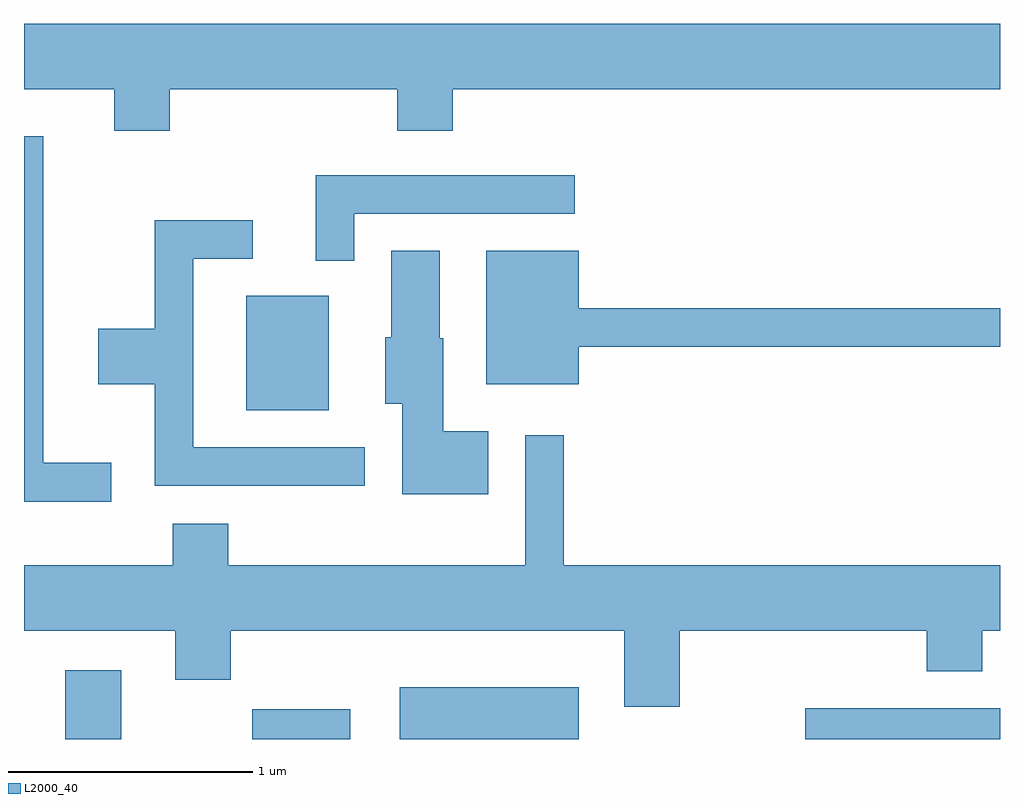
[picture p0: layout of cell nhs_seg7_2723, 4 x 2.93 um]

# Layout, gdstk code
import gdstk
lib = gdstk.Library(unit=1e-6, precision=1e-09)
def R(c, l, rs):  # rectangles x0, y0, x1, y1
    for r in rs: c.add(gdstk.rectangle(r[:2], r[2:], *l))
def P(c, l, *ps):  # polygons
    for p in ps: c.add(gdstk.Polygon(p, *l))
L2000_40 = (2000, 40)

nhs_seg7_2723 = lib.new_cell('nhs_seg7_2723')
R(nhs_seg7_2723, L2000_40, [(267.781,1778.252,268.009,1778.534), (268.546,1778.252,268.949,1778.374), (269.151,1778.252,269.884,1778.464), (270.813,1778.252,271.611,1778.379), (268.521,1779.601,268.859,1780.069)])
P(nhs_seg7_2723, L2000_40, [(268.209,1780.916),(269.141,1780.916),(269.141,1780.746),(269.369,1780.746),(269.369,1780.916),(271.611,1780.916),(271.611,1781.184),(267.611,1781.184),(267.611,1780.916),(267.981,1780.916),(267.981,1780.746),(268.209,1780.746)],
  [(267.968,1779.384),(267.689,1779.384),(267.689,1780.724),(267.611,1780.724),(267.611,1779.226),(267.968,1779.226)],
  [(268.964,1780.406),(269.868,1780.406),(269.868,1780.564),(268.806,1780.564),(268.806,1780.213),(268.964,1780.213)],
  [(269.008,1779.449),(268.304,1779.449),(268.304,1780.221),(268.548,1780.221),(268.548,1780.379),(268.146,1780.379),(268.146,1779.934),(267.916,1779.934),(267.916,1779.706),(268.146,1779.706),(268.146,1779.291),(269.008,1779.291)],
  [(269.514,1779.514),(269.329,1779.514),(269.329,1779.895),(269.314,1779.895),(269.314,1780.254),(269.116,1780.254),(269.116,1779.899),(269.091,1779.899),(269.091,1779.626),(269.161,1779.626),(269.161,1779.256),(269.514,1779.256)],
  [(269.884,1779.861),(271.611,1779.861),(271.611,1780.019),(269.884,1780.019),(269.884,1780.254),(269.506,1780.254),(269.506,1779.706),(269.884,1779.706)],
  [(270.299,1778.696),(271.311,1778.696),(271.311,1778.531),(271.539,1778.531),(271.539,1778.696),(271.611,1778.696),(271.611,1778.964),(269.824,1778.964),(269.824,1779.498),(269.666,1779.498),(269.666,1778.964),(268.449,1778.964),(268.449,1779.134),(268.221,1779.134),(268.221,1778.964),(267.611,1778.964),(267.611,1778.696),(268.231,1778.696),(268.231,1778.496),(268.459,1778.496),(268.459,1778.696),(270.071,1778.696),(270.071,1778.386),(270.299,1778.386)])

lib.write_gds('nhs_seg7_2723.gds')
